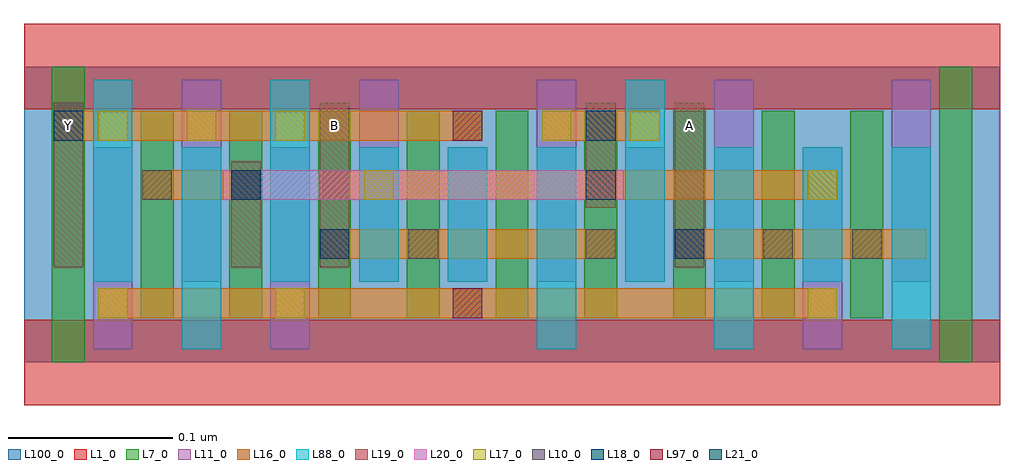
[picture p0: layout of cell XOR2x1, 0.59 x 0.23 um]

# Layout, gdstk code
import gdstk
lib = gdstk.Library(unit=1e-6, precision=2.5e-10)
def R(c, l, rs):  # rectangles x0, y0, x1, y1
    for r in rs: c.add(gdstk.rectangle(r[:2], r[2:], *l))
def A(c, l, x, y, w, h, nx, ny, dx, dy):  # array of equal rectangles
    R(c, l, [(x+i*dx, y+j*dy, x+i*dx+w, y+j*dy+h) for i in range(nx) for j in range(ny)])
L1_0 = (1, 0)
L7_0 = (7, 0)
L10_0 = (10, 0)
L11_0 = (11, 0)
L16_0 = (16, 0)
L17_0 = (17, 0)
L18_0 = (18, 0)
L19_0 = (19, 0)
L20_0 = (20, 0)
L21_0 = (21, 0)
L88_0 = (88, 0)
L97_0 = (97, 0)
L100_0 = (100, 0)

xor2x1 = lib.new_cell('XOR2x1')
R(xor2x1, L1_0, [(0,-0.026,0.594,0.026), (0,0.154,0.594,0.206)])
A(xor2x1, L7_0, 0.071, 0.027, 0.02, 0.126, 9, 1, 0.054, 0)
R(xor2x1, L7_0, [(0.017,0,0.037,0.18), (0.557,0,0.577,0.18)])
A(xor2x1, L10_0, 0.342, 0.063, 0.018, 0.018, 4, 1, 0.054, 0)
R(xor2x1, L10_0, [(0.18,0.063,0.198,0.081), (0.234,0.063,0.252,0.081), (0.072,0.099,0.09,0.117), (0.126,0.099,0.144,0.117)])
A(xor2x1, L11_0, 0.096, 0.049, 0.024, 0.123, 5, 1, 0.108, 0)
R(xor2x1, L11_0, [(0.042,0.008,0.066,0.131), (0.15,0.008,0.174,0.131), (0.474,0.008,0.498,0.131), (0.258,0.049,0.282,0.131), (0.366,0.049,0.39,0.131)])
R(xor2x1, L16_0, [(0.045,0.027,0.495,0.045), (0.18,0.063,0.36,0.081), (0.396,0.063,0.549,0.081), (0.072,0.099,0.144,0.117), (0.18,0.099,0.495,0.117), (0.018,0.135,0.279,0.153), (0.315,0.135,0.387,0.153)])
A(xor2x1, L17_0, 0.045, 0.027, 0.018, 0.018, 3, 1, 0.108, 0)
A(xor2x1, L17_0, 0.045, 0.135, 0.018, 0.018, 3, 1, 0.054, 0)
A(xor2x1, L17_0, 0.261, 0.135, 0.018, 0.018, 3, 1, 0.054, 0)
R(xor2x1, L17_0, [(0.477,0.027,0.495,0.045), (0.207,0.099,0.225,0.117), (0.477,0.099,0.495,0.117)])
R(xor2x1, L18_0, [(0.18,0.063,0.198,0.081), (0.396,0.063,0.414,0.081), (0.126,0.099,0.144,0.117), (0.018,0.135,0.036,0.153), (0.342,0.135,0.36,0.153)])
R(xor2x1, L19_0, [(0.018,0.058,0.036,0.158), (0.126,0.058,0.144,0.122), (0.18,0.058,0.198,0.158), (0.396,0.058,0.414,0.158), (0.342,0.094,0.36,0.158)])
R(xor2x1, L20_0, [(0.121,0.099,0.365,0.117)])
R(xor2x1, L21_0, [(0.126,0.099,0.144,0.117), (0.342,0.099,0.36,0.117)])
A(xor2x1, L88_0, 0.312, 0.008, 0.024, 0.123, 3, 1, 0.108, 0)
R(xor2x1, L88_0, [(0.096,0.008,0.12,0.131), (0.042,0.049,0.066,0.172), (0.15,0.049,0.174,0.172), (0.204,0.049,0.228,0.131), (0.258,0.049,0.282,0.131), (0.366,0.049,0.39,0.172), (0.474,0.049,0.498,0.131)])
R(xor2x1, L97_0, [(0.261,0.027,0.279,0.045), (0.261,0.135,0.279,0.153)])
R(xor2x1, L100_0, [(0,0,0.594,0.18)])
xor2x1.add(gdstk.Label('A', (0.405,0.144), layer=19, texttype=251))
xor2x1.add(gdstk.Label('B', (0.189,0.144), layer=19, texttype=251))
xor2x1.add(gdstk.Label('Y', (0.027,0.144), layer=19, texttype=251))

lib.write_gds('XOR2x1.gds')
